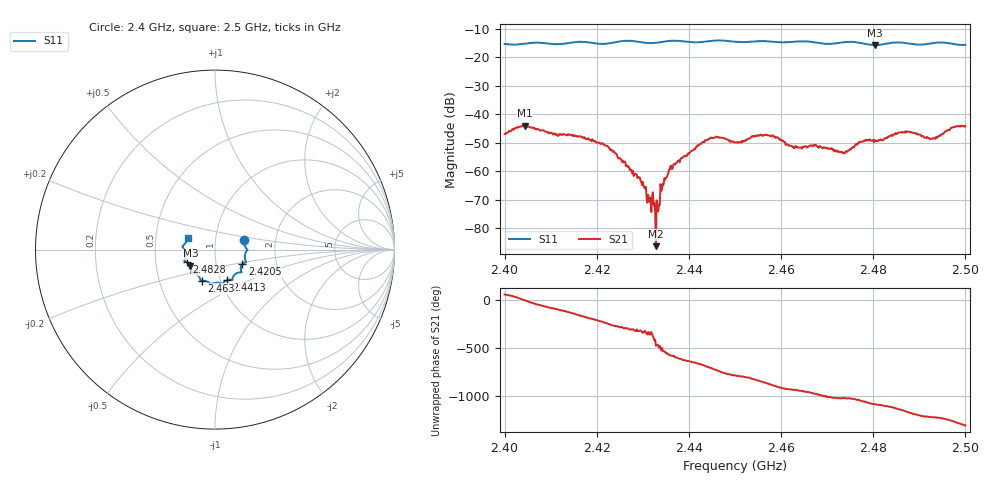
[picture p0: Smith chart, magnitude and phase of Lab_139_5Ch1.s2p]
# Hz S RI R 50
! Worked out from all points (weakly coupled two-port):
!   601 points, 2.4 GHz to 2.5 GHz, reference 50 ohm
!   highest |S21| = -44.08 dB at 2.4043 GHz (marker M1); lowest = -86.4 dB at 2.4328 GHz (marker M2)
!   lowest |S11| = -15.7 dB at 2.4803 GHz (marker M3), VSWR 1.39, Z = 37.4 - j6.84 ohm
!   |S11| at or under -10 dB: start of sweep to end of sweep
!   S12 and S22 are empty: the file has one direction only
!   S11 on the Smith chart (normalised r, x): 2.4 GHz: 1.38, +0.15; 2.4205 GHz: 1.34, -0.22; 2.4413 GHz: 1.08, -0.38; 2.463 GHz: 0.82, -0.29; 2.4828 GHz: 0.72, -0.10; 2.5 GHz: 0.73, +0.10
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2.4e9  0.1629 0.0525  0.00253 0.00372  0 0  0 0
2.404333e9  0.1729 0.00774  0.00624 -0.000346  0 0  0 0
2.416667e9  0.1734 -0.0697  -0.00384 -0.00105  0 0  0 0
2.4205e9  0.152 -0.0808  -0.00249 0.00195  0 0  0 0
2.428833e9  0.1392 -0.1267  0.000604 0.000448  0 0  0 0
2.432833e9  0.1029 -0.1472  -2.05e-05 -4.33e-05  0 0  0 0
2.433333e9  0.1005 -0.1513  -6.16e-05 -0.000185  0 0  0 0
2.434333e9  0.0982 -0.1593  -0.000591 -8.67e-05  0 0  0 0
2.436167e9  0.0976 -0.1683  -0.000984 0.000733  0 0  0 0
2.441333e9  0.0676 -0.1698  0.000867 0.00225  0 0  0 0
2.445667e9  0.0424 -0.1917  0.00391 -0.000184  0 0  0 0
2.45e9  0.0247 -0.1858  0.00157 -0.00275  0 0  0 0
2.456833e9  -0.0243 -0.1895  -0.00353 -0.00261  0 0  0 0
2.463e9  -0.072 -0.1737  -0.00219 0.00142  0 0  0 0
2.466667e9  -0.0816 -0.1674  -0.00132 0.00253  0 0  0 0
2.473333e9  -0.1282 -0.13  0.000898 0.00185  0 0  0 0
2.480333e9  -0.1374 -0.0891  0.00351 -4.39e-05  0 0  0 0
2.482833e9  -0.1588 -0.0702  0.00357 -0.0014  0 0  0 0
2.483333e9  -0.1626 -0.0683  0.00367 -0.00176  0 0  0 0
2.487667e9  -0.1668 -0.0504  0.000435 -0.00492  0 0  0 0
2.493e9  -0.1777 0.00955  -0.00271 -0.00258  0 0  0 0
2.5e9  -0.1523 0.064  -0.00463 0.00412  0 0  0 0
